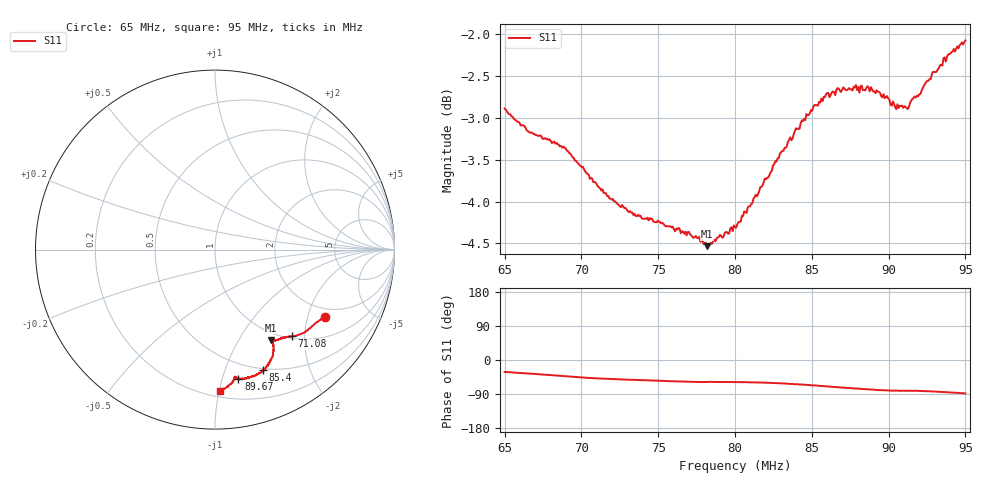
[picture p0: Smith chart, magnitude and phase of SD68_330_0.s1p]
! NanoVNA-App
! Date: 2025-08-09 13:08:03
! Start: 65MHz Stop: 95MHz Points: 401
! S-Parameter data: F S11
# Hz S RI R 50
!  Frequency  S11_Real  S11_Imag
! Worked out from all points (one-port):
!   401 points, 65 MHz to 95 MHz, reference 50 ohm
!   lowest |S11| = -4.5 dB at 78.2 MHz (marker M1), VSWR 3.92, Z = 44.7 - j69.5 ohm
!   |S11| at or under -10 dB: nowhere
!   S11 on the Smith chart (normalised r, x): 65 MHz: 1.66, -2.57; 71.08 MHz: 1.04, -1.72; 85.4 MHz: 0.49, -1.36; 89.67 MHz: 0.36, -1.13; 95 MHz: 0.24, -1.00
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6.5e7  0.6112 -0.3755
6.6575e7  0.5633 -0.4064
6.7775e7  0.533 -0.4354
6.875e7  0.5029 -0.4572
6.995e7  0.4599 -0.4771
7.1075e7  0.4266 -0.4828
7.25e7  0.3935 -0.4884
7.625e7  0.3349 -0.5066
7.7525e7  0.3176 -0.5095
7.82e7  0.3138 -0.5037
8e7  0.3199 -0.5185
8.0825e7  0.3242 -0.5352
8.2025e7  0.3268 -0.5628
8.3075e7  0.3207 -0.5958
8.375e7  0.3093 -0.6149
8.4575e7  0.2902 -0.6435
8.54e7  0.2686 -0.6681
8.6525e7  0.2337 -0.6923
8.75e7  0.1998 -0.7091
8.87e7  0.1567 -0.7215
8.93e7  0.1358 -0.7215
8.9675e7  0.1303 -0.7199
9.035e7  0.1158 -0.7128
9.125e7  0.1097 -0.7084
9.1925e7  0.1076 -0.7215
9.2675e7  0.0973 -0.7408
9.395e7  0.0604 -0.7708
9.5e7  0.026 -0.7874
